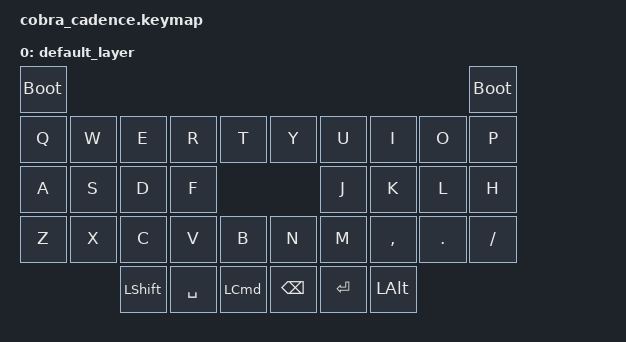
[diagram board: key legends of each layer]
#include <behaviors.dtsi>
#include <dt-bindings/zmk/keys.h>

/ {
    keymap {
        compatible = "zmk,keymap";

        default_layer { // Layer 0
            bindings = <
                &bootloader                                                                                                         &bootloader
                &kp Q       &kp W       &kp E       &kp R       &kp T               &kp Y       &kp U       &kp I       &kp O       &kp P
                &kp A       &kp S       &kp D       &kp F                                       &kp J       &kp K       &kp L       &kp H
                &kp Z       &kp X       &kp C       &kp V       &kp B               &kp N       &kp M       &kp COMMA   &kp DOT     &kp SLASH
                                        &kp LSHFT   &kp SPACE   &kp LCMD            &kp BSPC    &kp ENTER   &kp LALT
            >;
        };
    };
 };
